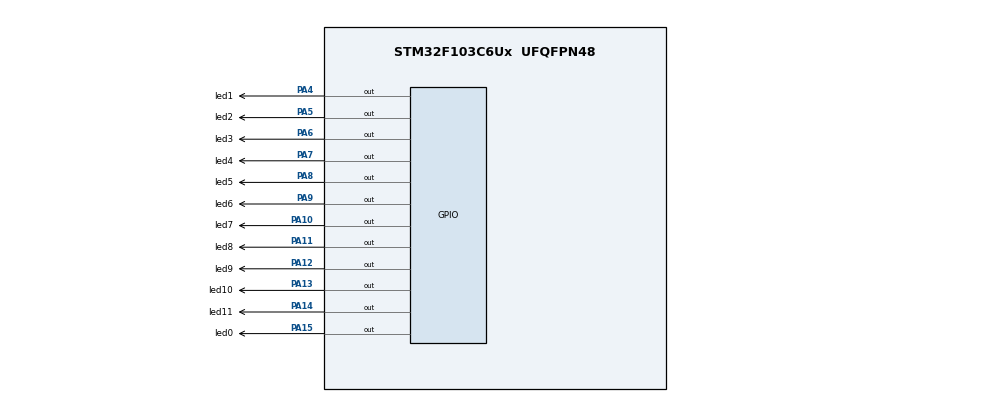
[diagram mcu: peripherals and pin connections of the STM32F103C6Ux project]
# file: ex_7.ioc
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Mcu.Family=STM32F1
Mcu.Name=STM32F103C6Ux
Mcu.Package=UFQFPN48
NVIC.PriorityGroup=NVIC_PRIORITYGROUP_4
PA10.GPIO_Label=led7
PA10.Signal=GPIO_Output
PA11.GPIO_Label=led8
PA11.Signal=GPIO_Output
PA12.GPIO_Label=led9
PA12.Signal=GPIO_Output
PA13.GPIO_Label=led10
PA13.Signal=GPIO_Output
PA14.GPIO_Label=led11
PA14.Signal=GPIO_Output
PA15.GPIO_Label=led0
PA15.Signal=GPIO_Output
PA4.GPIO_Label=led1
PA4.Signal=GPIO_Output
PA5.GPIO_Label=led2
PA5.Signal=GPIO_Output
PA6.GPIO_Label=led3
PA6.Signal=GPIO_Output
PA7.GPIO_Label=led4
PA7.Signal=GPIO_Output
PA8.GPIO_Label=led5
PA8.Signal=GPIO_Output
PA9.GPIO_Label=led6
PA9.Signal=GPIO_Output
ProjectManager.HeapSize=0x200
ProjectManager.StackSize=0x400
ProjectManager.TargetToolchain=STM32CubeIDE
RCC.APB1Freq_Value=8000000
RCC.APB2Freq_Value=8000000
VP_SYS_VS_ND.Mode=No_Debug
board=custom

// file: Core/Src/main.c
/* USER CODE BEGIN Header */
/**
  ******************************************************************************
  * @file           : main.c
  * @brief          : Main program body
  ******************************************************************************
  * @attention
  *
  * <h2><center>&copy; Copyright (c) 2023 STMicroelectronics.
  * All rights reserved.</center></h2>
  *
  * This software component is licensed by ST under BSD 3-Clause license,
  * the "License"; You may not use this file except in compliance with the
  * License. You may obtain a copy of the License at:
  *                        opensource.org/licenses/BSD-3-Clause
  *
  ******************************************************************************
  */
/* USER CODE END Header */
#include "main.h"

void SystemClock_Config(void);
static void MX_GPIO_Init(void);

/* USER CODE BEGIN 0 */
void setNumberOnClock()
{
	uint16_t array[12]= {led0_Pin, led1_Pin, led2_Pin, led3_Pin, led4_Pin, led5_Pin, led6_Pin, led7_Pin, led8_Pin, led9_Pin, led10_Pin,
							led11_Pin};
	for (int i= 0; i < 12; i++)
	{
		HAL_GPIO_WritePin(GPIOA, array[i], SET);
	}
}
void clearNumberOnClock(int num)
{
	uint16_t array[12]= {led0_Pin, led1_Pin, led2_Pin, led3_Pin, led4_Pin, led5_Pin, led6_Pin, led7_Pin, led8_Pin, led9_Pin, led10_Pin,
						led11_Pin};
	setNumberOnClock();
	HAL_GPIO_WritePin(GPIOA, array[num], RESET);
}

/* USER CODE END 0 */

int main(void)
{

  /* MCU Configuration--------------------------------------------------------*/

  /* Reset of all peripherals, Initializes the Flash interface and the Systick. */
  HAL_Init();

  /* Configure the system clock */
  SystemClock_Config();

  /* Initialize all configured peripherals */
  MX_GPIO_Init();

  /* Infinite loop */
  /* USER CODE BEGIN WHILE */
  uint16_t array[12]= {led0_Pin, led1_Pin, led2_Pin, led3_Pin, led4_Pin, led5_Pin, led6_Pin, led7_Pin, led8_Pin, led9_Pin, led10_Pin,
  						led11_Pin};
  int counter= 0;
  while (1)
  {
	 if (counter== 12)
	 {
		 HAL_GPIO_TogglePin(GPIOA, array[counter-1]);
		counter= 0;
	 }

	 if (counter > 0)
	 {
		 	HAL_GPIO_TogglePin(GPIOA, array[counter-1]);
	 	 	 HAL_GPIO_TogglePin(GPIOA, array[counter]);
	 }
	 else
	 {
		 HAL_GPIO_TogglePin(GPIOA, array[counter]);
	 }
	 counter+= 1;
	 HAL_Delay(1000);
    /* USER CODE END WHILE */

  }
}

void SystemClock_Config(void)
{
  RCC_OscInitTypeDef RCC_OscInitStruct = {0};
  RCC_ClkInitTypeDef RCC_ClkInitStruct = {0};

  /** Initializes the RCC Oscillators according to the specified parameters
  * in the RCC_OscInitTypeDef structure.
  */
  RCC_OscInitStruct.OscillatorType = RCC_OSCILLATORTYPE_HSI;
  RCC_OscInitStruct.HSIState = RCC_HSI_ON;
  RCC_OscInitStruct.HSICalibrationValue = RCC_HSICALIBRATION_DEFAULT;
  RCC_OscInitStruct.PLL.PLLState = RCC_PLL_NONE;
  if (HAL_RCC_OscConfig(&RCC_OscInitStruct) != HAL_OK)
  {
    Error_Handler();
  }
  /** Initializes the CPU, AHB and APB buses clocks
  */
  RCC_ClkInitStruct.ClockType = RCC_CLOCKTYPE_HCLK|RCC_CLOCKTYPE_SYSCLK
                              |RCC_CLOCKTYPE_PCLK1|RCC_CLOCKTYPE_PCLK2;
  RCC_ClkInitStruct.SYSCLKSource = RCC_SYSCLKSOURCE_HSI;
  RCC_ClkInitStruct.AHBCLKDivider = RCC_SYSCLK_DIV1;
  RCC_ClkInitStruct.APB1CLKDivider = RCC_HCLK_DIV1;
  RCC_ClkInitStruct.APB2CLKDivider = RCC_HCLK_DIV1;

  if (HAL_RCC_ClockConfig(&RCC_ClkInitStruct, FLASH_LATENCY_0) != HAL_OK)
  {
    Error_Handler();
  }
}

static void MX_GPIO_Init(void)
{
  GPIO_InitTypeDef GPIO_InitStruct = {0};

  /* GPIO Ports Clock Enable */
  __HAL_RCC_GPIOA_CLK_ENABLE();

  /*Configure GPIO pin Output Level */
  HAL_GPIO_WritePin(GPIOA, led1_Pin|led2_Pin|led3_Pin|led4_Pin
                          |led5_Pin|led6_Pin|led7_Pin|led8_Pin
                          |led9_Pin|led10_Pin|led11_Pin|led0_Pin, GPIO_PIN_RESET);

  /*Configure GPIO pins : led1_Pin led2_Pin led3_Pin led4_Pin
                           led5_Pin led6_Pin led7_Pin led8_Pin
                           led9_Pin led10_Pin led11_Pin led0_Pin */
  GPIO_InitStruct.Pin = led1_Pin|led2_Pin|led3_Pin|led4_Pin
                          |led5_Pin|led6_Pin|led7_Pin|led8_Pin
                          |led9_Pin|led10_Pin|led11_Pin|led0_Pin;
  GPIO_InitStruct.Mode = GPIO_MODE_OUTPUT_PP;
  GPIO_InitStruct.Pull = GPIO_NOPULL;
  GPIO_InitStruct.Speed = GPIO_SPEED_FREQ_LOW;
  HAL_GPIO_Init(GPIOA, &GPIO_InitStruct);

}

void Error_Handler(void)
{
  __disable_irq();
  while (1)
  {
  }
}

/************************ (C) COPYRIGHT STMicroelectronics *****END OF FILE****/
